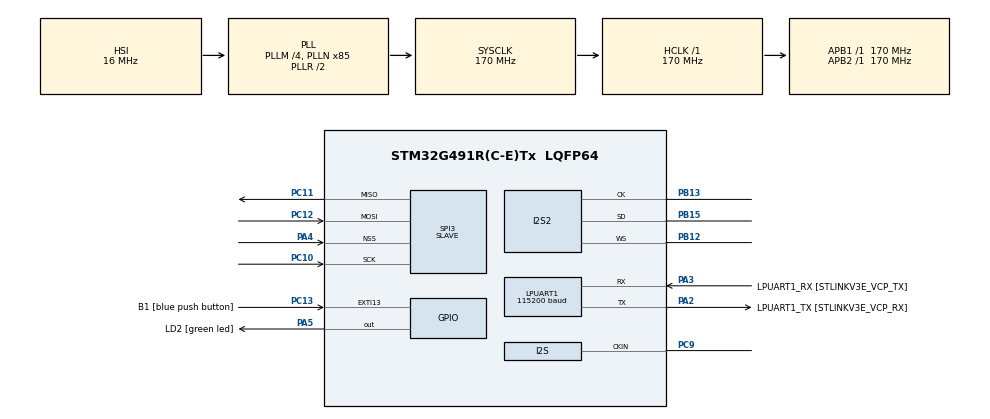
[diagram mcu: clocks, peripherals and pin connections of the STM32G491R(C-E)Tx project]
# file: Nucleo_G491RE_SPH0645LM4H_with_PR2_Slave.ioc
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Dma.Request0=SPI3_RX
Dma.Request1=SPI3_TX
Dma.Request2=SPI2_RX
Dma.SPI2_RX.2.Direction=DMA_PERIPH_TO_MEMORY
Dma.SPI2_RX.2.EventEnable=DISABLE
Dma.SPI2_RX.2.Instance=DMA1_Channel1
Dma.SPI2_RX.2.MemDataAlignment=DMA_MDATAALIGN_HALFWORD
Dma.SPI2_RX.2.MemInc=DMA_MINC_ENABLE
Dma.SPI2_RX.2.Mode=DMA_NORMAL
Dma.SPI2_RX.2.PeriphDataAlignment=DMA_PDATAALIGN_WORD
Dma.SPI2_RX.2.PeriphInc=DMA_PINC_DISABLE
Dma.SPI2_RX.2.Polarity=HAL_DMAMUX_REQ_GEN_RISING
Dma.SPI2_RX.2.Priority=DMA_PRIORITY_LOW
Dma.SPI2_RX.2.RequestNumber=1
Dma.SPI2_RX.2.SignalID=NONE
Dma.SPI2_RX.2.SyncEnable=DISABLE
Dma.SPI2_RX.2.SyncPolarity=HAL_DMAMUX_SYNC_NO_EVENT
Dma.SPI2_RX.2.SyncRequestNumber=1
Dma.SPI2_RX.2.SyncSignalID=NONE
Dma.SPI3_RX.0.Direction=DMA_PERIPH_TO_MEMORY
Dma.SPI3_RX.0.EventEnable=DISABLE
Dma.SPI3_RX.0.Instance=DMA2_Channel2
Dma.SPI3_RX.0.MemDataAlignment=DMA_MDATAALIGN_BYTE
Dma.SPI3_RX.0.MemInc=DMA_MINC_ENABLE
Dma.SPI3_RX.0.Mode=DMA_NORMAL
Dma.SPI3_RX.0.PeriphDataAlignment=DMA_PDATAALIGN_BYTE
Dma.SPI3_RX.0.PeriphInc=DMA_PINC_DISABLE
Dma.SPI3_RX.0.Polarity=HAL_DMAMUX_REQ_GEN_RISING
Dma.SPI3_RX.0.Priority=DMA_PRIORITY_LOW
Dma.SPI3_RX.0.RequestNumber=1
Dma.SPI3_RX.0.SignalID=NONE
Dma.SPI3_RX.0.SyncEnable=DISABLE
Dma.SPI3_RX.0.SyncPolarity=HAL_DMAMUX_SYNC_NO_EVENT
Dma.SPI3_RX.0.SyncRequestNumber=1
Dma.SPI3_RX.0.SyncSignalID=NONE
Dma.SPI3_TX.1.Direction=DMA_MEMORY_TO_PERIPH
Dma.SPI3_TX.1.EventEnable=DISABLE
Dma.SPI3_TX.1.Instance=DMA2_Channel1
Dma.SPI3_TX.1.MemDataAlignment=DMA_MDATAALIGN_BYTE
Dma.SPI3_TX.1.MemInc=DMA_MINC_ENABLE
Dma.SPI3_TX.1.Mode=DMA_NORMAL
Dma.SPI3_TX.1.PeriphDataAlignment=DMA_PDATAALIGN_BYTE
Dma.SPI3_TX.1.PeriphInc=DMA_PINC_DISABLE
Dma.SPI3_TX.1.Polarity=HAL_DMAMUX_REQ_GEN_RISING
Dma.SPI3_TX.1.Priority=DMA_PRIORITY_LOW
Dma.SPI3_TX.1.RequestNumber=1
Dma.SPI3_TX.1.SignalID=NONE
Dma.SPI3_TX.1.SyncEnable=DISABLE
Dma.SPI3_TX.1.SyncPolarity=HAL_DMAMUX_SYNC_NO_EVENT
Dma.SPI3_TX.1.SyncRequestNumber=1
Dma.SPI3_TX.1.SyncSignalID=NONE
FREERTOS.Tasks01=I2STask,-3,128,StartI2STask,Default,NULL,Dynamic,NULL,NULL
I2S2.AudioFreq=AudioFreqCustomValue
I2S2.AudioFreqCustom=64000
I2S2.DataFormat=I2S_DATAFORMAT_24B
I2S2.ErrorAudioFreq=-2.34 %
I2S2.FullDuplexMode=I2S_FULLDUPLEXMODE_DISABLE
I2S2.Instance=SPI$Index
I2S2.Mode=I2S_MODE_MASTER_RX
I2S2.RealAudioFreq=62.5 KHz
I2S2.VirtualMode=I2S_MODE_MASTER
LPUART1.BaudRate=115200
LPUART1.WordLength=UART_WORDLENGTH_8B
Mcu.Family=STM32G4
Mcu.Name=STM32G491R(C-E)Tx
Mcu.Package=LQFP64
NVIC.DMA1_Channel1_IRQn=true\:5\:0\:false\:false\:true\:true\:false\:true
NVIC.DMA2_Channel1_IRQn=true\:5\:0\:false\:false\:true\:false\:false\:true
NVIC.DMA2_Channel2_IRQn=true\:5\:0\:false\:false\:true\:false\:false\:true
NVIC.EXTI15_10_IRQn=true\:5\:0\:false\:false\:true\:true\:true\:true
NVIC.PriorityGroup=NVIC_PRIORITYGROUP_4
NVIC.TIM1_UP_TIM16_IRQn=true\:0\:0\:false\:false\:true\:false\:false\:true
NVIC.TimeBase=TIM1_UP_TIM16_IRQn
NVIC.TimeBaseIP=TIM1
PA13.GPIO_Label=T_SWDIO
PA13.Mode=Serial_Wire
PA13.Signal=SYS_JTMS-SWDIO
PA14.GPIO_Label=T_SWCLK
PA14.Mode=Serial_Wire
PA14.Signal=SYS_JTCK-SWCLK
PA2.GPIO_Label=LPUART1_TX [STLINKV3E_VCP_RX]
PA2.Mode=Asynchronous
PA2.Signal=LPUART1_TX
PA3.GPIO_Label=LPUART1_RX [STLINKV3E_VCP_TX]
PA3.Mode=Asynchronous
PA3.Signal=LPUART1_RX
PA4.Mode=NSS_Signal_Hard_Input
PA4.Signal=SPI3_NSS
PA5.GPIO_Label=LD2 [green led]
PA5.Signal=GPIO_Output
PB12.Mode=Half_Duplex_Master
PB12.Signal=I2S2_WS
PB13.Mode=Half_Duplex_Master
PB13.Signal=I2S2_CK
PB15.Mode=Half_Duplex_Master
PB15.Signal=I2S2_SD
PB3.GPIO_Label=T_SWO
PB3.Signal=SYS_JTDO-SWO
PC10.Mode=Full_Duplex_Slave
PC10.Signal=SPI3_SCK
PC11.Mode=Full_Duplex_Slave
PC11.Signal=SPI3_MISO
PC12.Mode=Full_Duplex_Slave
PC12.Signal=SPI3_MOSI
PC13.GPIO_Label=B1 [blue push button]
PC13.Signal=GPXTI13
PC14-OSC32_IN.Mode=LSE-External-Oscillator
PC14-OSC32_IN.Signal=RCC_OSC32_IN
PC15-OSC32_OUT.Mode=LSE-External-Oscillator
PC15-OSC32_OUT.Signal=RCC_OSC32_OUT
PC9.Mode=Audio_ClockIn
PC9.Signal=I2S_CKIN
PF0-OSC_IN.Mode=HSE-External-Oscillator
PF0-OSC_IN.Signal=RCC_OSC_IN
PF1-OSC_OUT.Mode=HSE-External-Oscillator
PF1-OSC_OUT.Signal=RCC_OSC_OUT
ProjectManager.HeapSize=0x200
ProjectManager.StackSize=0x400
ProjectManager.TargetToolchain=STM32CubeIDE
RCC.ADC12Freq_Value=170000000
RCC.ADC345Freq_Value=170000000
RCC.AHBFreq_Value=170000000
RCC.APB1Freq_Value=170000000
RCC.APB1TimFreq_Value=170000000
RCC.APB2Freq_Value=170000000
RCC.APB2TimFreq_Value=170000000
RCC.CortexFreq_Value=170000000
RCC.EXTERNAL_CLOCK_VALUE=16384000
RCC.HCLKFreq_Value=170000000
RCC.HSE_VALUE=24000000
RCC.HSI48_VALUE=48000000
RCC.HSI_VALUE=16000000
RCC.I2SCLockSelection=RCC_I2SCLKSOURCE_HSI
RCC.PLLM=RCC_PLLM_DIV4
RCC.PLLN=85
RCC.RTCClockSelection=RCC_RTCCLKSOURCE_LSE
RCC.SYSCLKFreq_VALUE=170000000
RCC.SYSCLKSource=RCC_SYSCLKSOURCE_PLLCLK
RCC.USBFreq_Value=48000000
RCC.VCOOutputFreq_Value=340000000
SPI3.Direction=SPI_DIRECTION_2LINES
SPI3.Mode=SPI_MODE_SLAVE
SPI3.VirtualNSS=VM_NSSHARD
SPI3.VirtualType=VM_SLAVE
VP_FREERTOS_VS_CMSIS_V1.Mode=CMSIS_V1
VP_SYS_VS_DBSignals.Mode=DisableDeadBatterySignals
VP_SYS_VS_tim1.Mode=TIM1
board=NUCLEO-G491RE

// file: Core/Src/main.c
/* USER CODE BEGIN Header */
/**
  ******************************************************************************
  * @file           : main.c
  * @brief          : Main program body
  ******************************************************************************
  * @attention
  *
  * <h2><center>&copy; Copyright (c) 2022 STMicroelectronics.
  * All rights reserved.</center></h2>
  *
  * This software component is licensed by ST under BSD 3-Clause license,
  * the "License"; You may not use this file except in compliance with the
  * License. You may obtain a copy of the License at:
  *                        opensource.org/licenses/BSD-3-Clause
  *
  ******************************************************************************
  */
/* USER CODE END Header */
#include "main.h"
#include "cmsis_os.h"

/* USER CODE BEGIN PD */
  #define READ_COMMAND 0x12
/* USER CODE END PD */

I2S_HandleTypeDef hi2s2;
DMA_HandleTypeDef hdma_spi2_rx;

UART_HandleTypeDef hlpuart1;

SPI_HandleTypeDef hspi3;
DMA_HandleTypeDef hdma_spi3_rx;
DMA_HandleTypeDef hdma_spi3_tx;

osThreadId I2STaskHandle;

void SystemClock_Config(void);
static void MX_GPIO_Init(void);
static void MX_DMA_Init(void);
static void MX_LPUART1_UART_Init(void);
static void MX_SPI3_Init(void);
static void MX_I2S2_Init(void);
void StartI2STask(void const * argument);

/* USER CODE BEGIN 0 */
#define BUFF_SIZE 1024
int32_t I2S_RX_BUFFER[BUFF_SIZE];
int32_t buff_sifted[BUFF_SIZE];
int32_t buff_sifted_mirror[BUFF_SIZE];
uint8_t buffer[1024];
uint8_t rxbuff[1];
uint8_t txbuff[44];
/* USER CODE END 0 */

int main(void)
{

  /* MCU Configuration--------------------------------------------------------*/

  /* Reset of all peripherals, Initializes the Flash interface and the Systick. */
  HAL_Init();

  /* Configure the system clock */
  SystemClock_Config();

  /* Initialize all configured peripherals */
  MX_GPIO_Init();
  MX_DMA_Init();
  MX_LPUART1_UART_Init();
  MX_SPI3_Init();
  MX_I2S2_Init();
  /* USER CODE BEGIN 2 */
  // Start receiving I2S microphone data
  // HAL_I2S_RxCpltCallback() is called at the end of HAL_I2S_Receive_DMA,
  // so HAL_I2S_RxCpltCallback() is executed continuously.
  HAL_I2S_Receive_DMA( &hi2s2, (uint16_t*)&I2S_RX_BUFFER, BUFF_SIZE);
  HAL_SPI_Receive_DMA( &hspi3, rxbuff, sizeof(rxbuff));
  /* USER CODE END 2 */

  /* Create the thread(s) */
  /* definition and creation of I2STask */
  osThreadDef(I2STask, StartI2STask, osPriorityIdle, 0, 128);
  I2STaskHandle = osThreadCreate(osThread(I2STask), NULL);

  /* Start scheduler */
  osKernelStart();

  /* We should never get here as control is now taken by the scheduler */
  /* Infinite loop */
  while (1)
  {

  }
}

void SystemClock_Config(void)
{
  RCC_OscInitTypeDef RCC_OscInitStruct = {0};
  RCC_ClkInitTypeDef RCC_ClkInitStruct = {0};
  RCC_PeriphCLKInitTypeDef PeriphClkInit = {0};

  /** Configure the main internal regulator output voltage
  */
  HAL_PWREx_ControlVoltageScaling(PWR_REGULATOR_VOLTAGE_SCALE1_BOOST);
  /** Initializes the RCC Oscillators according to the specified parameters
  * in the RCC_OscInitTypeDef structure.
  */
  RCC_OscInitStruct.OscillatorType = RCC_OSCILLATORTYPE_HSI;
  RCC_OscInitStruct.HSIState = RCC_HSI_ON;
  RCC_OscInitStruct.HSICalibrationValue = RCC_HSICALIBRATION_DEFAULT;
  RCC_OscInitStruct.PLL.PLLState = RCC_PLL_ON;
  RCC_OscInitStruct.PLL.PLLSource = RCC_PLLSOURCE_HSI;
  RCC_OscInitStruct.PLL.PLLM = RCC_PLLM_DIV4;
  RCC_OscInitStruct.PLL.PLLN = 85;
  RCC_OscInitStruct.PLL.PLLP = RCC_PLLP_DIV2;
  RCC_OscInitStruct.PLL.PLLQ = RCC_PLLQ_DIV2;
  RCC_OscInitStruct.PLL.PLLR = RCC_PLLR_DIV2;
  if (HAL_RCC_OscConfig(&RCC_OscInitStruct) != HAL_OK)
  {
    Error_Handler();
  }
  /** Initializes the CPU, AHB and APB buses clocks
  */
  RCC_ClkInitStruct.ClockType = RCC_CLOCKTYPE_HCLK|RCC_CLOCKTYPE_SYSCLK
                              |RCC_CLOCKTYPE_PCLK1|RCC_CLOCKTYPE_PCLK2;
  RCC_ClkInitStruct.SYSCLKSource = RCC_SYSCLKSOURCE_PLLCLK;
  RCC_ClkInitStruct.AHBCLKDivider = RCC_SYSCLK_DIV1;
  RCC_ClkInitStruct.APB1CLKDivider = RCC_HCLK_DIV1;
  RCC_ClkInitStruct.APB2CLKDivider = RCC_HCLK_DIV1;

  if (HAL_RCC_ClockConfig(&RCC_ClkInitStruct, FLASH_LATENCY_4) != HAL_OK)
  {
    Error_Handler();
  }
  /** Initializes the peripherals clocks
  */
  PeriphClkInit.PeriphClockSelection = RCC_PERIPHCLK_LPUART1|RCC_PERIPHCLK_I2S;
  PeriphClkInit.Lpuart1ClockSelection = RCC_LPUART1CLKSOURCE_PCLK1;
  PeriphClkInit.I2sClockSelection = RCC_I2SCLKSOURCE_HSI;
  if (HAL_RCCEx_PeriphCLKConfig(&PeriphClkInit) != HAL_OK)
  {
    Error_Handler();
  }
}

static void MX_I2S2_Init(void)
{

  hi2s2.Instance = SPI2;
  hi2s2.Init.Mode = I2S_MODE_MASTER_RX;
  hi2s2.Init.Standard = I2S_STANDARD_PHILIPS;
  hi2s2.Init.DataFormat = I2S_DATAFORMAT_24B;
  hi2s2.Init.MCLKOutput = I2S_MCLKOUTPUT_DISABLE;
  hi2s2.Init.AudioFreq = 64000;
  hi2s2.Init.CPOL = I2S_CPOL_LOW;
  if (HAL_I2S_Init(&hi2s2) != HAL_OK)
  {
    Error_Handler();
  }

}

static void MX_LPUART1_UART_Init(void)
{

  hlpuart1.Instance = LPUART1;
  hlpuart1.Init.BaudRate = 115200;
  hlpuart1.Init.WordLength = UART_WORDLENGTH_8B;
  hlpuart1.Init.StopBits = UART_STOPBITS_1;
  hlpuart1.Init.Parity = UART_PARITY_NONE;
  hlpuart1.Init.Mode = UART_MODE_TX_RX;
  hlpuart1.Init.HwFlowCtl = UART_HWCONTROL_NONE;
  hlpuart1.Init.OneBitSampling = UART_ONE_BIT_SAMPLE_DISABLE;
  hlpuart1.Init.ClockPrescaler = UART_PRESCALER_DIV1;
  hlpuart1.AdvancedInit.AdvFeatureInit = UART_ADVFEATURE_NO_INIT;
  if (HAL_UART_Init(&hlpuart1) != HAL_OK)
  {
    Error_Handler();
  }
  if (HAL_UARTEx_SetTxFifoThreshold(&hlpuart1, UART_TXFIFO_THRESHOLD_1_8) != HAL_OK)
  {
    Error_Handler();
  }
  if (HAL_UARTEx_SetRxFifoThreshold(&hlpuart1, UART_RXFIFO_THRESHOLD_1_8) != HAL_OK)
  {
    Error_Handler();
  }
  if (HAL_UARTEx_DisableFifoMode(&hlpuart1) != HAL_OK)
  {
    Error_Handler();
  }

}

static void MX_SPI3_Init(void)
{

  /* SPI3 parameter configuration*/
  hspi3.Instance = SPI3;
  hspi3.Init.Mode = SPI_MODE_SLAVE;
  hspi3.Init.Direction = SPI_DIRECTION_2LINES;
  hspi3.Init.DataSize = SPI_DATASIZE_8BIT;
  hspi3.Init.CLKPolarity = SPI_POLARITY_LOW;
  hspi3.Init.CLKPhase = SPI_PHASE_1EDGE;
  hspi3.Init.NSS = SPI_NSS_HARD_INPUT;
  hspi3.Init.FirstBit = SPI_FIRSTBIT_MSB;
  hspi3.Init.TIMode = SPI_TIMODE_DISABLE;
  hspi3.Init.CRCCalculation = SPI_CRCCALCULATION_DISABLE;
  hspi3.Init.CRCPolynomial = 7;
  hspi3.Init.CRCLength = SPI_CRC_LENGTH_DATASIZE;
  hspi3.Init.NSSPMode = SPI_NSS_PULSE_DISABLE;
  if (HAL_SPI_Init(&hspi3) != HAL_OK)
  {
    Error_Handler();
  }

}

static void MX_DMA_Init(void)
{

  /* DMA controller clock enable */
  __HAL_RCC_DMAMUX1_CLK_ENABLE();
  __HAL_RCC_DMA2_CLK_ENABLE();
  __HAL_RCC_DMA1_CLK_ENABLE();

  /* DMA interrupt init */
  /* DMA1_Channel1_IRQn interrupt configuration */
  HAL_NVIC_SetPriority(DMA1_Channel1_IRQn, 5, 0);
  HAL_NVIC_EnableIRQ(DMA1_Channel1_IRQn);
  /* DMA2_Channel1_IRQn interrupt configuration */
  HAL_NVIC_SetPriority(DMA2_Channel1_IRQn, 5, 0);
  HAL_NVIC_EnableIRQ(DMA2_Channel1_IRQn);
  /* DMA2_Channel2_IRQn interrupt configuration */
  HAL_NVIC_SetPriority(DMA2_Channel2_IRQn, 5, 0);
  HAL_NVIC_EnableIRQ(DMA2_Channel2_IRQn);

}

static void MX_GPIO_Init(void)
{
  GPIO_InitTypeDef GPIO_InitStruct = {0};

  /* GPIO Ports Clock Enable */
  __HAL_RCC_GPIOC_CLK_ENABLE();
  __HAL_RCC_GPIOF_CLK_ENABLE();
  __HAL_RCC_GPIOA_CLK_ENABLE();
  __HAL_RCC_GPIOB_CLK_ENABLE();

  /*Configure GPIO pin Output Level */
  HAL_GPIO_WritePin(LD2_GPIO_Port, LD2_Pin, GPIO_PIN_RESET);

  /*Configure GPIO pin : B1_Pin */
  GPIO_InitStruct.Pin = B1_Pin;
  GPIO_InitStruct.Mode = GPIO_MODE_IT_RISING;
  GPIO_InitStruct.Pull = GPIO_NOPULL;
  HAL_GPIO_Init(B1_GPIO_Port, &GPIO_InitStruct);

  /*Configure GPIO pin : LD2_Pin */
  GPIO_InitStruct.Pin = LD2_Pin;
  GPIO_InitStruct.Mode = GPIO_MODE_OUTPUT_PP;
  GPIO_InitStruct.Pull = GPIO_NOPULL;
  GPIO_InitStruct.Speed = GPIO_SPEED_FREQ_LOW;
  HAL_GPIO_Init(LD2_GPIO_Port, &GPIO_InitStruct);

  /*Configure GPIO pin : PC9 */
  GPIO_InitStruct.Pin = GPIO_PIN_9;
  GPIO_InitStruct.Mode = GPIO_MODE_AF_PP;
  GPIO_InitStruct.Pull = GPIO_NOPULL;
  GPIO_InitStruct.Speed = GPIO_SPEED_FREQ_LOW;
  GPIO_InitStruct.Alternate = GPIO_AF5_I2S2ext;
  HAL_GPIO_Init(GPIOC, &GPIO_InitStruct);

  /* EXTI interrupt init*/
  HAL_NVIC_SetPriority(EXTI15_10_IRQn, 5, 0);
  HAL_NVIC_EnableIRQ(EXTI15_10_IRQn);

}

/* USER CODE BEGIN 4 */
uint32_t getUs(void) {
  uint32_t usTicks = HAL_RCC_GetSysClockFreq() / 1000000;
  register uint32_t ms, cycle_cnt;
  do {
    ms = HAL_GetTick();
    cycle_cnt = SysTick->VAL;
  } while (ms != HAL_GetTick());
  return (ms * 1000) + (usTicks * 1000 - cycle_cnt) / usTicks;
}

void delayUs(uint16_t micros) {
	uint32_t start = getUs();
	while (getUs()-start < (uint32_t) micros) {
		asm("nop");
	}
}

void HAL_I2S_RxCpltCallback(I2S_HandleTypeDef *hi2s) {
	// Send I2S data to serial monitor
    for(int i = 0; i < BUFF_SIZE; i++){
    	buff_sifted[i] = I2S_RX_BUFFER[i] >> 14;
    }
    // sprintf(buffer, "buff[0]:%d buff[1]:%d buff[2]:%d buff[3]:%d \r\n", buff_sifted[0], buff_sifted[1], buff_sifted[2], buff_sifted[3]);
    // HAL_UART_Transmit(&hlpuart1, buffer, 1024, 10);
    // HAL_Delay(1) is magic number
    HAL_Delay(1);
    for(int i=0; i<20; i++){
    	txbuff[i*2] = (buff_sifted[i] >> 10) & 0x000000ff;
    	txbuff[i*2+1] = (buff_sifted[i] >> 2) & 0x000000ff;
    }
    txbuff[20*2] = ((int32_t)1000 >> 8) & 0x000000ff;
    txbuff[20*2+1] = ((int32_t)1000 >> 0) & 0x000000ff;
    txbuff[21*2] = ((int32_t)2000 >> 8) & 0x000000ff;
    txbuff[21*2+1] = ((int32_t)2000 >> 0) & 0x000000ff;
    // Receive I2S data again
    HAL_I2S_Receive_DMA( hi2s, (uint16_t*)&I2S_RX_BUFFER, BUFF_SIZE);
}

void HAL_SPI_RxCpltCallback(SPI_HandleTypeDef *hspi) {
	  if(rxbuff[0] == READ_COMMAND){
		  HAL_SPI_Transmit_DMA(hspi, txbuff, sizeof(txbuff));
	  }else{
		  HAL_SPI_Receive_DMA(hspi, rxbuff, 1);
	  }
}

void HAL_SPI_TxCpltCallback(SPI_HandleTypeDef *hspi) {
	// HAL_Delay(1) is magic number
	  HAL_Delay(1);
	  HAL_SPI_Receive_DMA(hspi, rxbuff, 1);
}
/* USER CODE END 4 */

void StartI2STask(void const * argument)
{
  for(;;)
  {
    osDelay(1);
  }
}

 /**
  * @brief  Period elapsed callback in non blocking mode
  * @note   This function is called  when TIM1 interrupt took place, inside
  * HAL_TIM_IRQHandler(). It makes a direct call to HAL_IncTick() to increment
  * a global variable "uwTick" used as application time base.
  * @param  htim : TIM handle
  * @retval None
  */
void HAL_TIM_PeriodElapsedCallback(TIM_HandleTypeDef *htim)
{
  if (htim->Instance == TIM1) {
    HAL_IncTick();
  }
}

void Error_Handler(void)
{
  __disable_irq();
  while (1)
  {
  }
}

/************************ (C) COPYRIGHT STMicroelectronics *****END OF FILE****/
